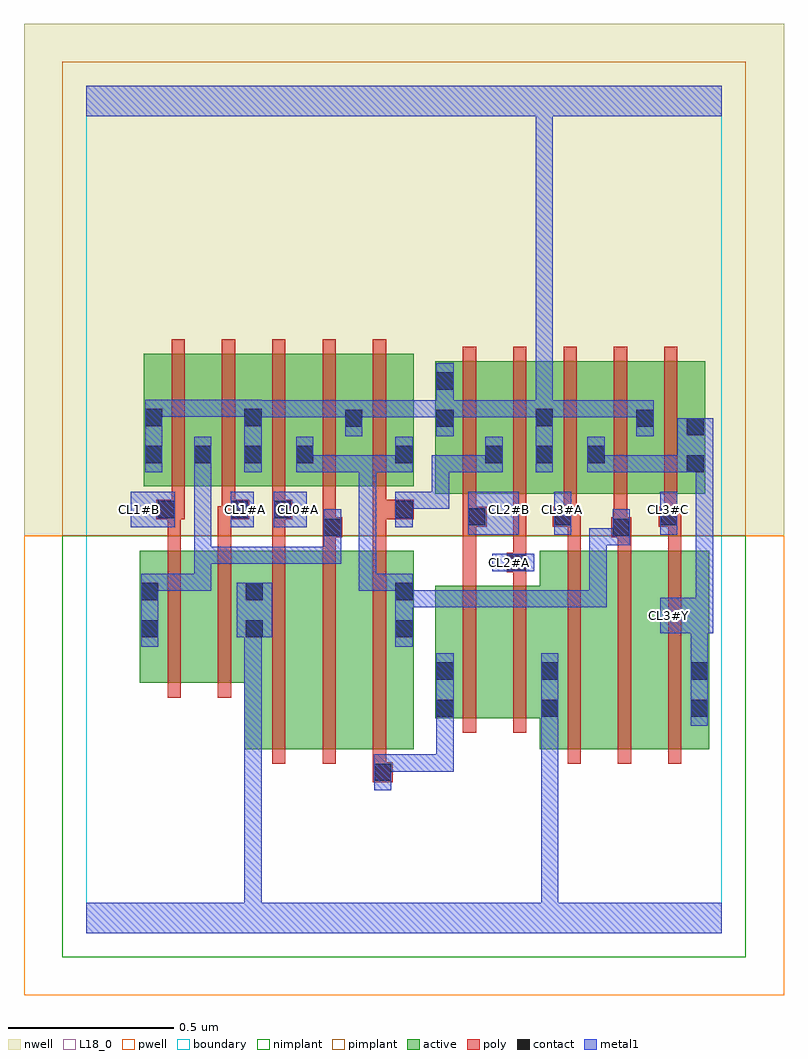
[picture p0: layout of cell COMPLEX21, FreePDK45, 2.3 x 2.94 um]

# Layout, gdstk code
import gdstk
lib = gdstk.Library(unit=1e-6, precision=1e-09)
def R(c, l, rs):  # rectangles x0, y0, x1, y1
    for r in rs: c.add(gdstk.rectangle(r[:2], r[2:], *l))
def A(c, l, x, y, w, h, nx, ny, dx, dy):  # array of equal rectangles
    R(c, l, [(x+i*dx, y+j*dy, x+i*dx+w, y+j*dy+h) for i in range(nx) for j in range(ny)])
active = (1, 0)
pwell = (2, 0)
nwell = (3, 0)
nimplant = (4, 0)
pimplant = (5, 0)
poly = (9, 0)
contact = (10, 0)
metal1 = (11, 0)
L18_0 = (18, 0)
boundary = (235, 0)

complex21 = lib.new_cell('COMPLEX21')
R(complex21, active, [(0.478,0.556,0.658,1.156), (0.658,0.556,0.81,1.156), (0.81,0.556,0.99,1.156), (0.93,0.556,0.99,1.156), (1.37,0.556,1.55,1.156), (1.55,0.556,1.702,1.156), (1.702,0.556,1.882,1.156), (1.822,0.556,1.882,1.156), (1.054,0.65,1.114,1.05), (1.054,0.65,1.234,1.05), (1.234,0.65,1.43,1.05), (1.37,0.65,1.43,1.05), (0.162,0.756,0.222,1.156), (0.162,0.756,0.342,1.156), (0.342,0.756,0.538,1.156), (0.478,0.756,0.538,1.156), (1.054,1.328,1.262,1.728), (1.054,1.328,1.114,1.698), (1.202,1.328,1.262,1.644), (1.202,1.328,1.414,1.728), (1.354,1.328,1.414,1.644), (1.354,1.328,1.57,1.728), (1.51,1.328,1.57,1.644), (1.51,1.328,1.718,1.728), (1.658,1.328,1.718,1.644), (1.658,1.328,1.87,1.728), (1.81,1.328,1.87,1.644), (0.174,1.35,0.382,1.75), (0.174,1.35,0.234,1.644), (0.322,1.35,0.534,1.75), (0.322,1.35,0.382,1.644), (0.474,1.35,0.69,1.75), (0.474,1.35,0.534,1.644), (0.63,1.35,0.838,1.75), (0.63,1.35,0.69,1.644), (0.778,1.35,0.99,1.75), (0.778,1.35,0.838,1.644), (0.93,1.35,0.99,1.644)])
R(complex21, pwell, [(-0.188,-0.188,2.108,1.2)])
R(complex21, nwell, [(-0.188,1.2,2.108,2.748)])
R(complex21, nimplant, [(-0.072,-0.072,1.992,1.2)])
R(complex21, pimplant, [(-0.072,1.2,1.992,2.632)])
A(complex21, poly, 0.562, 0.512, 0.04, 0.688, 3, 1, 0.152, 0)
A(complex21, poly, 1.454, 0.512, 0.04, 0.688, 3, 1, 0.152, 0)
A(complex21, poly, 1.138, 1.248, 0.04, 0.076, 3, 1, 0.304, 0)
A(complex21, poly, 0.258, 1.27, 0.04, 0.076, 3, 1, 0.152, 0)
A(complex21, poly, 1.138, 1.284, 0.04, 0.488, 5, 1, 0.152, 0)
A(complex21, poly, 0.258, 1.306, 0.04, 0.488, 5, 1, 0.152, 0)
R(complex21, poly, [(0.866,0.456,0.926,0.516), (0.866,0.476,0.906,0.552), (1.138,0.606,1.178,1.094), (1.29,0.606,1.33,1.094), (0.246,0.712,0.286,1.2), (0.398,0.712,0.438,1.2), (1.138,1.054,1.178,1.268), (1.29,1.054,1.33,1.13), (1.27,1.09,1.33,1.15), (1.29,1.11,1.33,1.15), (1.29,1.11,1.33,1.15), (1.29,1.11,1.33,1.324), (0.246,1.16,0.286,1.29), (0.398,1.16,0.438,1.29), (0.562,1.16,0.602,1.29), (0.714,1.16,0.754,1.236), (0.866,1.16,0.906,1.29), (1.454,1.16,1.494,1.268), (1.606,1.16,1.646,1.236), (1.758,1.16,1.798,1.268), (0.714,1.196,0.774,1.256), (1.586,1.196,1.646,1.256), (0.714,1.216,0.754,1.256), (0.714,1.216,0.754,1.256), (0.714,1.216,0.754,1.346), (1.594,1.216,1.634,1.256), (1.594,1.216,1.634,1.256), (1.594,1.216,1.634,1.324), (1.138,1.228,1.178,1.268), (1.138,1.228,1.178,1.268), (1.138,1.228,1.21,1.288), (1.41,1.228,1.494,1.288), (1.73,1.228,1.79,1.288), (1.75,1.228,1.79,1.268), (1.75,1.228,1.798,1.268), (1.442,1.248,1.482,1.288), (1.442,1.248,1.482,1.288), (0.212,1.25,0.298,1.31), (0.246,1.25,0.286,1.29), (0.246,1.25,0.286,1.29), (0.398,1.25,0.45,1.29), (0.41,1.25,0.45,1.29), (0.41,1.25,0.492,1.31), (0.562,1.25,0.602,1.29), (0.562,1.25,0.602,1.29), (0.562,1.25,0.622,1.31), (0.866,1.25,0.906,1.29), (0.866,1.25,0.906,1.29), (0.866,1.25,0.99,1.31), (0.866,1.27,0.906,1.346)])
R(complex21, contact, [(0.87,0.46,0.922,0.512), (1.058,0.654,1.11,0.706), (1.374,0.654,1.426,0.706), (1.826,0.654,1.878,0.706), (1.058,0.766,1.11,0.818), (1.374,0.766,1.426,0.818), (1.826,0.766,1.878,0.818), (0.166,0.894,0.218,0.946), (0.482,0.894,0.534,0.946), (0.934,0.894,0.986,0.946), (0.166,1.006,0.218,1.058), (0.482,1.006,0.534,1.058), (0.934,1.006,0.986,1.058), (1.274,1.094,1.326,1.146), (0.718,1.2,0.77,1.252), (1.59,1.2,1.642,1.252), (1.154,1.232,1.206,1.284), (1.414,1.232,1.466,1.284), (1.734,1.232,1.786,1.284), (0.216,1.254,0.268,1.306), (0.436,1.254,0.488,1.306), (0.566,1.254,0.618,1.306), (0.934,1.254,0.986,1.306), (1.814,1.392,1.866,1.444), (0.178,1.42,0.23,1.472), (0.326,1.42,0.378,1.472), (0.478,1.42,0.53,1.472), (0.634,1.42,0.686,1.472), (0.934,1.42,0.986,1.472), (1.206,1.42,1.258,1.472), (1.358,1.42,1.41,1.472), (1.514,1.42,1.566,1.472), (1.814,1.504,1.866,1.556), (0.782,1.53,0.834,1.582), (1.058,1.53,1.11,1.582), (1.662,1.53,1.714,1.582), (0.178,1.532,0.23,1.584), (0.478,1.532,0.53,1.584), (1.358,1.532,1.41,1.584), (1.058,1.642,1.11,1.694)])
R(complex21, metal1, [(0,0,1.92,0.092), (0.478,0.04,0.53,0.092), (0.478,0.04,0.53,0.092), (0.478,0.04,0.53,0.092), (0.478,0.04,0.53,0.092), (0.478,0.04,0.53,0.092), (0.478,0.04,0.53,0.092), (0.478,0.04,0.53,0.092), (0.478,0.04,0.53,0.092), (0.478,0.04,0.53,0.946), (1.374,0.04,1.426,0.092), (1.374,0.04,1.426,0.092), (1.374,0.04,1.426,0.678), (0.87,0.432,0.922,0.54), (0.87,0.488,0.986,0.54), (0.934,0.488,0.986,0.54), (0.934,0.488,1.11,0.54), (1.058,0.488,1.11,0.54), (1.058,0.488,1.11,0.678), (1.058,0.626,1.11,0.678), (1.058,0.626,1.11,0.678), (1.058,0.626,1.11,0.678), (1.058,0.626,1.11,0.678), (1.058,0.626,1.11,0.846), (1.374,0.626,1.426,0.678), (1.374,0.626,1.426,0.678), (1.374,0.626,1.426,0.678), (1.374,0.626,1.426,0.678), (1.374,0.626,1.426,0.678), (1.374,0.626,1.426,0.678), (1.374,0.626,1.426,0.846), (1.826,0.626,1.878,0.846), (1.826,0.794,1.878,0.958), (0.166,0.866,0.218,1.086), (0.934,0.866,0.986,1.086), (0.454,0.894,0.562,1.058), (1.734,0.906,1.894,1.014), (1.842,0.962,1.894,1.444), (1.842,0.962,1.894,1.014), (1.842,0.962,1.894,1.014), (0.934,0.984,1.11,1.036), (1.058,0.984,1.11,1.036), (1.058,0.984,1.11,1.036), (1.058,0.984,1.11,1.036), (1.058,0.984,1.22,1.036), (1.168,0.984,1.22,1.036), (1.168,0.984,1.22,1.036), (1.168,0.984,1.22,1.036), (1.168,0.984,1.41,1.036), (1.358,0.984,1.41,1.036), (1.358,0.984,1.41,1.036), (1.358,0.984,1.41,1.036), (1.358,0.984,1.572,1.036), (1.52,0.984,1.572,1.036), (1.52,0.984,1.572,1.224), (0.166,1.034,0.218,1.086), (0.166,1.034,0.218,1.086), (0.166,1.034,0.378,1.086), (0.326,1.034,0.378,1.086), (0.326,1.034,0.378,1.168), (0.824,1.034,0.876,1.086), (0.824,1.034,0.986,1.086), (0.824,1.034,0.876,1.444), (0.934,1.034,0.986,1.086), (0.934,1.034,0.986,1.086), (0.934,1.034,0.986,1.086), (0.934,1.034,0.986,1.086), (1.226,1.094,1.354,1.146), (0.326,1.116,0.378,1.168), (0.326,1.116,0.508,1.168), (0.326,1.116,0.378,1.444), (0.456,1.116,0.508,1.168), (0.456,1.116,0.508,1.168), (0.456,1.116,0.508,1.168), (0.456,1.116,0.64,1.168), (0.588,1.116,0.64,1.168), (0.588,1.116,0.64,1.168), (0.588,1.116,0.64,1.168), (0.588,1.116,0.77,1.168), (0.718,1.116,0.77,1.28), (1.52,1.172,1.572,1.224), (1.52,1.172,1.642,1.224), (1.59,1.172,1.642,1.28), (1.154,1.204,1.306,1.334), (1.414,1.204,1.466,1.334), (1.734,1.204,1.786,1.334), (0.134,1.226,0.268,1.334), (0.436,1.226,0.506,1.334), (0.566,1.226,0.666,1.334), (0.934,1.226,0.986,1.334), (0.934,1.282,0.986,1.334), (0.934,1.282,0.986,1.334), (0.934,1.282,1.096,1.334), (1.044,1.282,1.096,1.334), (1.044,1.282,1.096,1.444), (0.178,1.392,0.23,1.612), (0.326,1.392,0.378,1.444), (0.326,1.392,0.378,1.444), (0.326,1.392,0.378,1.5), (0.478,1.392,0.53,1.612), (0.634,1.392,0.686,1.5), (0.634,1.392,0.75,1.444), (0.698,1.392,0.75,1.444), (0.698,1.392,0.876,1.444), (0.824,1.392,0.876,1.444), (0.824,1.392,0.876,1.444), (0.824,1.392,0.876,1.444), (0.824,1.392,0.986,1.444), (0.934,1.392,0.986,1.444), (0.934,1.392,0.986,1.444), (0.934,1.392,0.986,1.5), (1.044,1.392,1.096,1.444), (1.044,1.392,1.096,1.444), (1.044,1.392,1.096,1.444), (1.044,1.392,1.258,1.444), (1.206,1.392,1.258,1.5), (1.358,1.392,1.41,1.612), (1.514,1.392,1.566,1.5), (1.514,1.392,1.63,1.444), (1.578,1.392,1.63,1.444), (1.578,1.392,1.678,1.444), (1.626,1.392,1.678,1.444), (1.626,1.392,1.838,1.444), (1.786,1.392,1.838,1.444), (1.786,1.392,1.838,1.444), (1.786,1.392,1.894,1.556), (0.782,1.502,0.834,1.61), (1.058,1.502,1.11,1.722), (1.662,1.502,1.714,1.61), (0.478,1.558,0.64,1.61), (0.588,1.558,0.64,1.61), (0.588,1.558,0.64,1.61), (0.588,1.558,0.64,1.61), (0.588,1.558,0.812,1.61), (0.76,1.558,0.812,1.61), (0.76,1.558,0.834,1.61), (0.782,1.558,0.986,1.61), (0.934,1.558,0.986,1.61), (0.934,1.558,0.986,1.61), (0.934,1.558,0.986,1.61), (0.934,1.558,1.11,1.61), (1.058,1.558,1.11,1.61), (1.058,1.558,1.11,1.61), (1.058,1.558,1.3,1.61), (1.248,1.558,1.3,1.61), (1.248,1.558,1.3,1.61), (1.248,1.558,1.3,1.61), (1.248,1.558,1.41,1.61), (1.358,1.558,1.52,1.61), (1.468,1.558,1.52,1.61), (1.468,1.558,1.52,1.61), (1.468,1.558,1.52,1.61), (1.468,1.558,1.676,1.61), (1.624,1.558,1.676,1.61), (1.624,1.558,1.714,1.61), (0.178,1.56,0.23,1.612), (0.178,1.56,0.23,1.612), (0.178,1.56,0.396,1.612), (0.344,1.56,0.396,1.612), (0.344,1.56,0.396,1.612), (0.344,1.56,0.396,1.612), (0.344,1.56,0.53,1.612), (1.358,1.56,1.41,1.612), (1.358,1.56,1.41,1.612), (1.358,1.56,1.41,1.612), (1.358,1.56,1.41,1.612), (1.358,1.56,1.41,2.52), (0,2.468,1.92,2.56), (1.358,2.468,1.41,2.52), (1.358,2.468,1.41,2.52), (1.358,2.468,1.41,2.52), (1.358,2.468,1.41,2.52), (1.358,2.468,1.41,2.52), (1.358,2.468,1.41,2.52), (1.358,2.468,1.41,2.52), (1.358,2.468,1.41,2.52), (1.358,2.468,1.41,2.52), (1.358,2.468,1.41,2.52), (1.358,2.468,1.41,2.52), (1.358,2.468,1.41,2.52)])
R(complex21, L18_0, [(0,0,1.92,0.092), (0.478,0.04,0.53,0.092), (0.478,0.04,0.53,0.092), (0.478,0.04,0.53,0.092), (0.478,0.04,0.53,0.092), (0.478,0.04,0.53,0.092), (0.478,0.04,0.53,0.092), (0.478,0.04,0.53,0.092), (0.478,0.04,0.53,0.092), (0.478,0.04,0.53,0.946), (1.374,0.04,1.426,0.092), (1.374,0.04,1.426,0.092), (1.374,0.04,1.426,0.678), (1.374,0.626,1.426,0.846), (1.374,0.626,1.426,0.678), (1.374,0.626,1.426,0.678), (1.374,0.626,1.426,0.678), (1.374,0.626,1.426,0.678), (1.374,0.626,1.426,0.678), (1.374,0.626,1.426,0.678), (1.826,0.626,1.878,0.846), (1.826,0.794,1.878,0.958), (0.454,0.894,0.562,1.058), (1.734,0.906,1.894,1.014), (1.734,0.934,1.786,0.986), (1.842,0.962,1.894,1.014), (1.842,0.962,1.894,1.014), (1.842,0.962,1.894,1.444), (1.226,1.094,1.354,1.146), (1.254,1.094,1.306,1.146), (1.154,1.204,1.306,1.334), (1.414,1.204,1.466,1.334), (1.734,1.204,1.786,1.334), (0.134,1.226,0.268,1.334), (0.436,1.226,0.506,1.334), (0.566,1.226,0.666,1.334), (0.134,1.254,0.186,1.306), (0.454,1.254,0.506,1.306), (0.614,1.254,0.666,1.306), (1.254,1.254,1.306,1.306), (1.414,1.254,1.466,1.306), (1.734,1.254,1.786,1.306), (0.178,1.392,0.23,1.612), (0.478,1.392,0.53,1.612), (1.358,1.392,1.41,1.612), (1.514,1.392,1.566,1.5), (1.514,1.392,1.63,1.444), (1.578,1.392,1.63,1.444), (1.578,1.392,1.678,1.444), (1.626,1.392,1.678,1.444), (1.626,1.392,1.838,1.444), (1.786,1.392,1.838,1.444), (1.786,1.392,1.838,1.444), (1.786,1.392,1.894,1.556), (0.782,1.502,0.834,1.61), (1.058,1.502,1.11,1.722), (1.662,1.502,1.714,1.61), (0.478,1.558,0.64,1.61), (0.588,1.558,0.64,1.61), (0.588,1.558,0.64,1.61), (0.588,1.558,0.64,1.61), (0.588,1.558,0.812,1.61), (0.76,1.558,0.812,1.61), (0.76,1.558,0.834,1.61), (0.782,1.558,0.986,1.61), (0.934,1.558,0.986,1.61), (0.934,1.558,0.986,1.61), (0.934,1.558,0.986,1.61), (0.934,1.558,1.11,1.61), (1.058,1.558,1.11,1.61), (1.058,1.558,1.11,1.61), (1.058,1.558,1.3,1.61), (1.248,1.558,1.3,1.61), (1.248,1.558,1.3,1.61), (1.248,1.558,1.3,1.61), (1.248,1.558,1.41,1.61), (1.358,1.558,1.52,1.61), (1.468,1.558,1.52,1.61), (1.468,1.558,1.52,1.61), (1.468,1.558,1.52,1.61), (1.468,1.558,1.676,1.61), (1.624,1.558,1.676,1.61), (1.624,1.558,1.714,1.61), (0.178,1.56,0.23,1.612), (0.178,1.56,0.23,1.612), (0.178,1.56,0.396,1.612), (0.344,1.56,0.396,1.612), (0.344,1.56,0.396,1.612), (0.344,1.56,0.396,1.612), (0.344,1.56,0.53,1.612), (1.358,1.56,1.41,1.612), (1.358,1.56,1.41,1.612), (1.358,1.56,1.41,1.612), (1.358,1.56,1.41,1.612), (1.358,1.56,1.41,2.52), (0,2.468,1.92,2.56), (1.358,2.468,1.41,2.52), (1.358,2.468,1.41,2.52), (1.358,2.468,1.41,2.52), (1.358,2.468,1.41,2.52), (1.358,2.468,1.41,2.52), (1.358,2.468,1.41,2.52), (1.358,2.468,1.41,2.52), (1.358,2.468,1.41,2.52), (1.358,2.468,1.41,2.52), (1.358,2.468,1.41,2.52), (1.358,2.468,1.41,2.52), (1.358,2.468,1.41,2.52)])
R(complex21, boundary, [(0,0,1.92,2.56)])
complex21.add(gdstk.Label('CL0#A', (0.64,1.28), layer=11, texttype=0))
complex21.add(gdstk.Label('CL1#A', (0.48,1.28), layer=11, texttype=0))
complex21.add(gdstk.Label('CL1#B', (0.16,1.28), layer=11, texttype=0))
complex21.add(gdstk.Label('CL2#A', (1.28,1.12), layer=11, texttype=0))
complex21.add(gdstk.Label('CL2#B', (1.28,1.28), layer=11, texttype=0))
complex21.add(gdstk.Label('CL3#A', (1.44,1.28), layer=11, texttype=0))
complex21.add(gdstk.Label('CL3#C', (1.76,1.28), layer=11, texttype=0))
complex21.add(gdstk.Label('CL3#Y', (1.76,0.96), layer=11, texttype=0))

lib.write_gds('COMPLEX21.gds')
